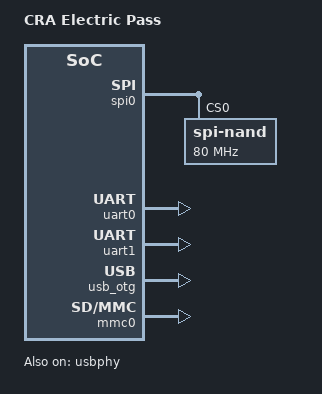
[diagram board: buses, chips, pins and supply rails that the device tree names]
// SPDX-License-Identifier: (GPL-2.0+ OR X11)

/dts-v1/;
#include "suniv-f1c100s.dtsi"

#include <dt-bindings/gpio/gpio.h>

/ {
	model = "CRA Electric Pass";
	compatible = "cra,electric-pass",
		     "allwinner,suniv-f1c100s",
		     "allwinner,suniv";

	aliases {
		serial0 = &uart0;
		spi0 = &spi0;
	};

	chosen {
		stdout-path = "serial0:115200n8";
	};
};

&otg_sram {
	status = "okay";
};

&spi0 {
	pinctrl-names = "default";
	pinctrl-0 = <&spi0_pins_a>;
	status = "okay";

	spi-nand@0 {
		reg = <0>;
		compatible = "spi-nand";
		spi-max-frequency = <80000000>;
	};
};

&uart0 {
	pinctrl-names = "default";
	pinctrl-0 = <&uart0_pins_a>;
	status = "okay";
};

&uart1 {
	pinctrl-names = "default";
	pinctrl-0 = <&uart1_pins_a>;
	status = "okay";
};

&usb_otg {
	status = "okay";
};

&usbphy {
	status = "okay";
};

&mmc0 {
	status = "okay";
};

&mmc2 {
	/*
	 * MMC1 uses PC0-PC2, which conflicts with SPI0 on PC0-PC3.
	 * This board boots from SPI-NAND, so keep the second MMC disabled.
	 */
	status = "disabled";
};
